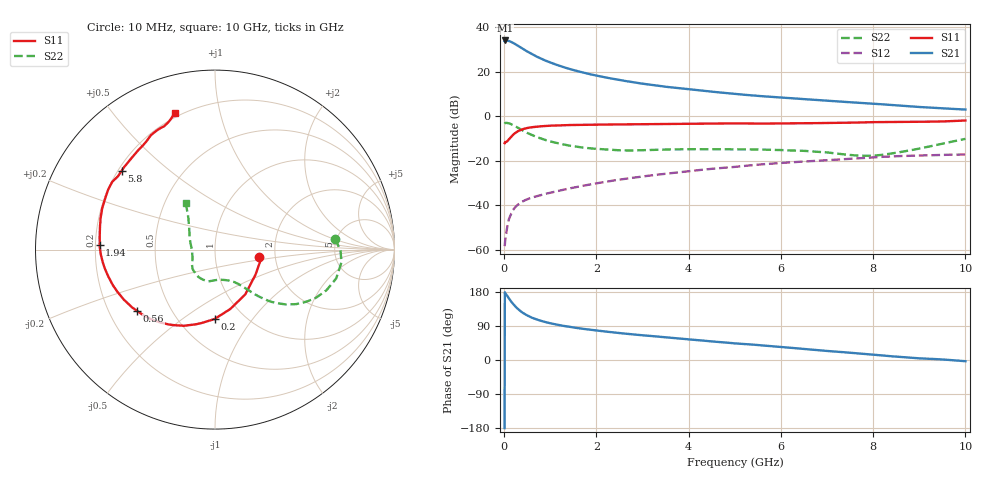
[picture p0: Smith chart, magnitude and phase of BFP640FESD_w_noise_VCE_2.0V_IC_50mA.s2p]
! Infineon Technologies  Discrete & RF Semiconductors
! BFP640FESD
! VCE =  2.0 V,  IC =  50 mA
! Common Emitter S-Parameters:  Jan 2016
# GHz  S  MA  R  50
!  f  S11  S21  S12  S22
! GHz  MAG  ANG  MAG  ANG  MAG  ANG  MAG  ANG
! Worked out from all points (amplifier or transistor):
!   233 points, 10 MHz to 10 GHz, reference 50 ohm
!   highest |S21| = 34.0 dB at 20 MHz (marker M1)
!   |S21| within 3 dB of that: start of sweep to 347.8 MHz
!   unconditionally stable (mu >= 1): start of sweep to 111 MHz; 1.155 GHz to end of sweep
!   at 200 MHz: K = 0.72, MSG = 37.4 dB, |S12| = -41.9 dB
!   at 1.74 GHz: K = 1.12, MAG = 23.2 dB, |S12| = -31.2 dB
!   at 10 GHz: K = 1.18, MAG = 7.5 dB, |S12| = -17.2 dB
!   lowest NFmin = 1.40 dB at 450 MHz
!   S11 on the Smith chart (normalised r, x): 10 MHz: 1.64, -0.15; 200 MHz: 0.74, -0.67; 560 MHz: 0.32, -0.31; 1.94 GHz: 0.22, +0.02; 5.8 GHz: 0.21, +0.35; 10 GHz: 0.18, +0.74
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0.01  0.2479 -10.0  47.81 -179.7  0.0012 63.2  0.6737 5.1
0.02  0.2605 -13.7  49.89 177.0  0.0015 64.4  0.6997 -0.8
0.1  0.3015 -56.0  48.71 163.1  0.0047 64.8  0.6941 -13.4
0.15  0.342 -75.7  46.44 154.5  0.0063 63.6  0.6613 -20.0
0.2  0.3869 -90.4  43.79 147.0  0.008 60.6  0.6234 -25.5
0.26  0.4304 -104.6  40.16 139.0  0.0094 58.1  0.5753 -30.8
0.3  0.4585 -112.2  37.92 134.4  0.0103 56.8  0.5445 -33.9
0.4  0.5071 -126.6  32.66 124.8  0.0121 54.1  0.4751 -39.5
0.5  0.5406 -137.1  28.26 117.6  0.0135 52.9  0.4191 -43.4
0.56  0.5525 -141.9  26.08 114.3  0.0143 52.7  0.3925 -44.8
0.7  0.579 -151.1  21.8 107.1  0.0159 52.8  0.3402 -47.9
0.96  0.6053 -162.2  16.57 98.1  0.0186 54.7  0.2779 -51.5
1.3  0.625 -171.4  12.44 89.7  0.0224 57.4  0.229 -56.1
1.68  0.6379 -178.4  9.679 82.8  0.0269 59.7  0.1982 -62.6
1.94  0.6432 177.8  8.37 78.9  0.0301 60.9  0.1857 -67.5
2.6  0.6533 169.1  6.2 69.8  0.0387 61.6  0.1696 -82.0
3.4  0.6671 161.0  4.712 61.0  0.0494 61.0  0.176 -96.8
5.1  0.684 145.9  3.078 43.1  0.0741 55.9  0.1791 -117.7
5.8  0.6807 139.9  2.704 36.5  0.0857 52.5  0.1745 -125.6
6.8  0.6955 129.5  2.289 26.0  0.0994 46.7  0.1575 -143.8
8.4  0.7386 116.1  1.775 9.8  0.1244 37.0  0.1448 162.4
10  0.7948 106.2  1.403 -3.2  0.1376 26.1  0.3086 122.1
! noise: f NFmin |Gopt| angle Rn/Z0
0.45  1.4  0.33  -171  0.09
2.4  1.49  0.36  -152  0.11
5.5  1.92  0.39  -139  0.16
10  2.79  0.55  -95  0.74
